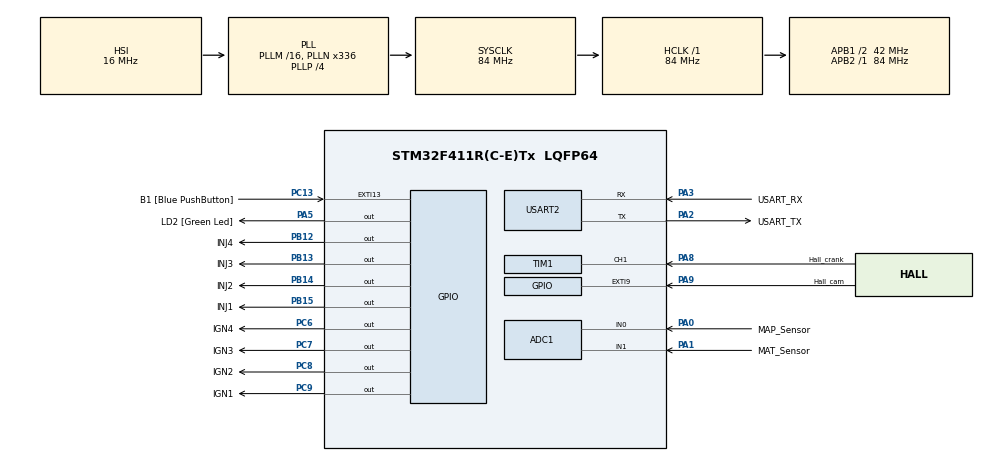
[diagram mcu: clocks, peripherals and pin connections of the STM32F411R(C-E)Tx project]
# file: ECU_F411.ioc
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ADC1.Channel-1\#ChannelRegularConversion=ADC_CHANNEL_1
ADC1.NbrOfConversionFlag=1
ADC1.Rank-1\#ChannelRegularConversion=1
ADC1.SamplingTime-1\#ChannelRegularConversion=ADC_SAMPLETIME_3CYCLES
ADC1.master=1
Mcu.Family=STM32F4
Mcu.Name=STM32F411R(C-E)Tx
Mcu.Package=LQFP64
NVIC.PriorityGroup=NVIC_PRIORITYGROUP_0
PA0-WKUP.GPIO_Label=MAP_Sensor
PA0-WKUP.Signal=ADCx_IN0
PA1.GPIO_Label=MAT_Sensor
PA1.Signal=ADCx_IN1
PA13.GPIO_Label=TMS
PA13.Mode=Serial_Wire
PA13.Signal=SYS_JTMS-SWDIO
PA14.GPIO_Label=TCK
PA14.Mode=Serial_Wire
PA14.Signal=SYS_JTCK-SWCLK
PA2.GPIO_Label=USART_TX
PA2.Mode=Asynchronous
PA2.Signal=USART2_TX
PA3.GPIO_Label=USART_RX
PA3.Mode=Asynchronous
PA3.Signal=USART2_RX
PA5.GPIO_Label=LD2 [Green Led]
PA5.Signal=GPIO_Output
PA8.GPIO_Label=Hall_crank
PA8.Signal=S_TIM1_CH1
PA9.GPIO_Label=Hall_cam
PA9.Signal=GPXTI9
PB12.GPIO_Label=INJ4
PB12.Signal=GPIO_Output
PB13.GPIO_Label=INJ3
PB13.Signal=GPIO_Output
PB14.GPIO_Label=INJ2
PB14.Signal=GPIO_Output
PB15.GPIO_Label=INJ1
PB15.Signal=GPIO_Output
PB3.GPIO_Label=SWO
PB3.Signal=SYS_JTDO-SWO
PC13-ANTI_TAMP.GPIO_Label=B1 [Blue PushButton]
PC13-ANTI_TAMP.GPIO_ModeDefaultEXTI=GPIO_MODE_IT_FALLING
PC13-ANTI_TAMP.Signal=GPXTI13
PC14-OSC32_IN.Mode=LSE-External-Oscillator
PC14-OSC32_IN.Signal=RCC_OSC32_IN
PC15-OSC32_OUT.Mode=LSE-External-Oscillator
PC15-OSC32_OUT.Signal=RCC_OSC32_OUT
PC6.GPIO_Label=IGN4
PC6.Signal=GPIO_Output
PC7.GPIO_Label=IGN3
PC7.Signal=GPIO_Output
PC8.GPIO_Label=IGN2
PC8.Signal=GPIO_Output
PC9.GPIO_Label=IGN1
PC9.Signal=GPIO_Output
PH0\ -\ OSC_IN.Mode=HSE-External-Clock-Source
PH0\ -\ OSC_IN.Signal=RCC_OSC_IN
PH1\ -\ OSC_OUT.Mode=HSE-External-Clock-Source
PH1\ -\ OSC_OUT.Signal=RCC_OSC_OUT
ProjectManager.HeapSize=0x200
ProjectManager.StackSize=0x400
ProjectManager.TargetToolchain=STM32CubeIDE
RCC.48MHZClocksFreq_Value=84000000
RCC.AHBFreq_Value=84000000
RCC.APB1CLKDivider=RCC_HCLK_DIV2
RCC.APB1Freq_Value=42000000
RCC.APB1TimFreq_Value=84000000
RCC.APB2Freq_Value=84000000
RCC.APB2TimFreq_Value=84000000
RCC.CortexFreq_Value=84000000
RCC.FLatency-AdvancedSettings=FLASH_LATENCY_2
RCC.HCLKFreq_Value=84000000
RCC.HSE_VALUE=8000000
RCC.HSI_VALUE=16000000
RCC.PLLN=336
RCC.PLLP=RCC_PLLP_DIV4
RCC.SYSCLKFreq_VALUE=84000000
RCC.SYSCLKSource=RCC_SYSCLKSOURCE_PLLCLK
RCC.VCOOutputFreq_Value=336000000
SH.ADCx_IN0.0=ADC1_IN0,IN0
SH.ADCx_IN1.0=ADC1_IN1,IN1
SH.S_TIM1_CH1.0=TIM1_CH1,Input_Capture1_from_TI1
TIM1.Channel-Input_Capture1_from_TI1=TIM_CHANNEL_1
TIM3.Period=840
USART2.VirtualMode=VM_ASYNC
VP_TIM1_VS_ClockSourceINT.Mode=Internal
VP_TIM3_VS_ClockSourceINT.Mode=Internal
board=NUCLEO-F411RE

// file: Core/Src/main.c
/* USER CODE BEGIN Header */
/**
  ******************************************************************************
  * @file           : main.c
  * @brief          : Main program body
  ******************************************************************************
  * @attention
  *
  * Copyright (c) 2022 STMicroelectronics.
  * All rights reserved.
  *
  * This software is licensed under terms that can be found in the LICENSE file
  * in the root directory of this software component.
  * If no LICENSE file comes with this software, it is provided AS-IS.
  *
  ******************************************************************************
  */
/* USER CODE END Header */
#include "main.h"

/* USER CODE BEGIN Includes */
#include "stdbool.h"
#include "engine_parameters.h"
#include "event.h"
#include "ignition.h"
#include "injection.h"
#include "adc.h"
/* USER CODE END Includes */

/* USER CODE BEGIN PTD */
//To discuss if they move to a .h
typedef enum{
	OFF = 0,
	IGNITION_ON = 1,
	CRANKING = 2,
	RUNNING = 3
}engineState_t;

typedef enum{
	SYNCHRO_INIT = 0,
	SYNCHRO_OK = 1,
	SYNCHRO_ERROR = 2
}synchroState_t;

typedef struct EngineStatus{
	engineState_t engineState;
	synchroState_t synchroState;
	bool missmatch_crank_tooth;
	bool missmatch_cam_angle;
}EngineStatus;

/* USER CODE END PTD */

ADC_HandleTypeDef hadc1;

TIM_HandleTypeDef htim1;
TIM_HandleTypeDef htim3;

UART_HandleTypeDef huart2;

/* USER CODE BEGIN PV */
float crank_speed = 0;
float crank_angle = 0;
float delta_integral_crank_angle = 0;
int crank_clock_ovf_counter = 0;
int count_crank_tooth = 0;
bool crank_half_cycle = 0;		// 0: crank_angle=[0,360] ; 1: crank_angle=[360,720]

EngineStatus engine_status = {OFF, SYNCHRO_INIT, false, false};
Cylinder L_Cylinder[NB_CYLINDER] = {0};
Sensor map_sensor = {0};
Sensor mat_sensor = {0};

float speed_rpm = 0;
/* USER CODE END PV */

void SystemClock_Config(void);
static void MX_GPIO_Init(void);
static void MX_USART2_UART_Init(void);
static void MX_TIM1_Init(void);
static void MX_TIM3_Init(void);
static void MX_ADC1_Init(void);

int main(void)
{

  /* MCU Configuration--------------------------------------------------------*/

  /* Reset of all peripherals, Initializes the Flash interface and the Systick. */
  HAL_Init();

  /* Configure the system clock */
  SystemClock_Config();

  /* Initialize all configured peripherals */
  MX_GPIO_Init();
  MX_USART2_UART_Init();
  MX_TIM1_Init();
  MX_TIM3_Init();
  MX_ADC1_Init();
  /* USER CODE BEGIN 2 */
  Cylinder_Init(L_Cylinder);
  Sensor_Init(&map_sensor, MAP_Sensor_GPIO_Port, MAP_Sensor_Pin, 1, 0);
  Sensor_Init(&mat_sensor, MAT_Sensor_GPIO_Port, MAT_Sensor_Pin, 1, 0);
  map_sensor.hadc_p = &hadc1;		// Affectation statique à ADC1
  mat_sensor.hadc_p = &hadc1;		// Affectation statique à ADC1
  /* USER CODE END 2 */

  /* Infinite loop */
  while (1)
  {

  }
}

void SystemClock_Config(void)
{
  RCC_OscInitTypeDef RCC_OscInitStruct = {0};
  RCC_ClkInitTypeDef RCC_ClkInitStruct = {0};

  /** Configure the main internal regulator output voltage
  */
  __HAL_RCC_PWR_CLK_ENABLE();
  __HAL_PWR_VOLTAGESCALING_CONFIG(PWR_REGULATOR_VOLTAGE_SCALE1);

  /** Initializes the RCC Oscillators according to the specified parameters
  * in the RCC_OscInitTypeDef structure.
  */
  RCC_OscInitStruct.OscillatorType = RCC_OSCILLATORTYPE_HSI;
  RCC_OscInitStruct.HSIState = RCC_HSI_ON;
  RCC_OscInitStruct.HSICalibrationValue = RCC_HSICALIBRATION_DEFAULT;
  RCC_OscInitStruct.PLL.PLLState = RCC_PLL_ON;
  RCC_OscInitStruct.PLL.PLLSource = RCC_PLLSOURCE_HSI;
  RCC_OscInitStruct.PLL.PLLM = 16;
  RCC_OscInitStruct.PLL.PLLN = 336;
  RCC_OscInitStruct.PLL.PLLP = RCC_PLLP_DIV4;
  RCC_OscInitStruct.PLL.PLLQ = 4;
  if (HAL_RCC_OscConfig(&RCC_OscInitStruct) != HAL_OK)
  {
    Error_Handler();
  }

  /** Initializes the CPU, AHB and APB buses clocks
  */
  RCC_ClkInitStruct.ClockType = RCC_CLOCKTYPE_HCLK|RCC_CLOCKTYPE_SYSCLK
                              |RCC_CLOCKTYPE_PCLK1|RCC_CLOCKTYPE_PCLK2;
  RCC_ClkInitStruct.SYSCLKSource = RCC_SYSCLKSOURCE_PLLCLK;
  RCC_ClkInitStruct.AHBCLKDivider = RCC_SYSCLK_DIV1;
  RCC_ClkInitStruct.APB1CLKDivider = RCC_HCLK_DIV2;
  RCC_ClkInitStruct.APB2CLKDivider = RCC_HCLK_DIV1;

  if (HAL_RCC_ClockConfig(&RCC_ClkInitStruct, FLASH_LATENCY_2) != HAL_OK)
  {
    Error_Handler();
  }
}

static void MX_ADC1_Init(void)
{

  ADC_ChannelConfTypeDef sConfig = {0};

  /** Configure the global features of the ADC (Clock, Resolution, Data Alignment and number of conversion)
  */
  hadc1.Instance = ADC1;
  hadc1.Init.ClockPrescaler = ADC_CLOCK_SYNC_PCLK_DIV4;
  hadc1.Init.Resolution = ADC_RESOLUTION_12B;
  hadc1.Init.ScanConvMode = DISABLE;
  hadc1.Init.ContinuousConvMode = DISABLE;
  hadc1.Init.DiscontinuousConvMode = DISABLE;
  hadc1.Init.ExternalTrigConvEdge = ADC_EXTERNALTRIGCONVEDGE_NONE;
  hadc1.Init.ExternalTrigConv = ADC_SOFTWARE_START;
  hadc1.Init.DataAlign = ADC_DATAALIGN_RIGHT;
  hadc1.Init.NbrOfConversion = 1;
  hadc1.Init.DMAContinuousRequests = DISABLE;
  hadc1.Init.EOCSelection = ADC_EOC_SINGLE_CONV;
  if (HAL_ADC_Init(&hadc1) != HAL_OK)
  {
    Error_Handler();
  }

  /** Configure for the selected ADC regular channel its corresponding rank in the sequencer and its sample time.
  */
  sConfig.Channel = ADC_CHANNEL_1;
  sConfig.Rank = 1;
  sConfig.SamplingTime = ADC_SAMPLETIME_3CYCLES;
  if (HAL_ADC_ConfigChannel(&hadc1, &sConfig) != HAL_OK)
  {
    Error_Handler();
  }

}

static void MX_TIM1_Init(void)
{

  TIM_ClockConfigTypeDef sClockSourceConfig = {0};
  TIM_MasterConfigTypeDef sMasterConfig = {0};
  TIM_IC_InitTypeDef sConfigIC = {0};

  htim1.Instance = TIM1;
  htim1.Init.Prescaler = 0;
  htim1.Init.CounterMode = TIM_COUNTERMODE_UP;
  htim1.Init.Period = 65535;
  htim1.Init.ClockDivision = TIM_CLOCKDIVISION_DIV1;
  htim1.Init.RepetitionCounter = 0;
  htim1.Init.AutoReloadPreload = TIM_AUTORELOAD_PRELOAD_DISABLE;
  if (HAL_TIM_Base_Init(&htim1) != HAL_OK)
  {
    Error_Handler();
  }
  sClockSourceConfig.ClockSource = TIM_CLOCKSOURCE_INTERNAL;
  if (HAL_TIM_ConfigClockSource(&htim1, &sClockSourceConfig) != HAL_OK)
  {
    Error_Handler();
  }
  if (HAL_TIM_IC_Init(&htim1) != HAL_OK)
  {
    Error_Handler();
  }
  sMasterConfig.MasterOutputTrigger = TIM_TRGO_RESET;
  sMasterConfig.MasterSlaveMode = TIM_MASTERSLAVEMODE_DISABLE;
  if (HAL_TIMEx_MasterConfigSynchronization(&htim1, &sMasterConfig) != HAL_OK)
  {
    Error_Handler();
  }
  sConfigIC.ICPolarity = TIM_INPUTCHANNELPOLARITY_RISING;
  sConfigIC.ICSelection = TIM_ICSELECTION_DIRECTTI;
  sConfigIC.ICPrescaler = TIM_ICPSC_DIV1;
  sConfigIC.ICFilter = 0;
  if (HAL_TIM_IC_ConfigChannel(&htim1, &sConfigIC, TIM_CHANNEL_1) != HAL_OK)
  {
    Error_Handler();
  }

}

static void MX_TIM3_Init(void)
{

  TIM_ClockConfigTypeDef sClockSourceConfig = {0};
  TIM_MasterConfigTypeDef sMasterConfig = {0};

  htim3.Instance = TIM3;
  htim3.Init.Prescaler = 0;
  htim3.Init.CounterMode = TIM_COUNTERMODE_UP;
  htim3.Init.Period = 840;
  htim3.Init.ClockDivision = TIM_CLOCKDIVISION_DIV1;
  htim3.Init.AutoReloadPreload = TIM_AUTORELOAD_PRELOAD_DISABLE;
  if (HAL_TIM_Base_Init(&htim3) != HAL_OK)
  {
    Error_Handler();
  }
  sClockSourceConfig.ClockSource = TIM_CLOCKSOURCE_INTERNAL;
  if (HAL_TIM_ConfigClockSource(&htim3, &sClockSourceConfig) != HAL_OK)
  {
    Error_Handler();
  }
  sMasterConfig.MasterOutputTrigger = TIM_TRGO_RESET;
  sMasterConfig.MasterSlaveMode = TIM_MASTERSLAVEMODE_DISABLE;
  if (HAL_TIMEx_MasterConfigSynchronization(&htim3, &sMasterConfig) != HAL_OK)
  {
    Error_Handler();
  }

}

static void MX_USART2_UART_Init(void)
{

  huart2.Instance = USART2;
  huart2.Init.BaudRate = 115200;
  huart2.Init.WordLength = UART_WORDLENGTH_8B;
  huart2.Init.StopBits = UART_STOPBITS_1;
  huart2.Init.Parity = UART_PARITY_NONE;
  huart2.Init.Mode = UART_MODE_TX_RX;
  huart2.Init.HwFlowCtl = UART_HWCONTROL_NONE;
  huart2.Init.OverSampling = UART_OVERSAMPLING_16;
  if (HAL_UART_Init(&huart2) != HAL_OK)
  {
    Error_Handler();
  }

}

static void MX_GPIO_Init(void)
{
  GPIO_InitTypeDef GPIO_InitStruct = {0};

  /* GPIO Ports Clock Enable */
  __HAL_RCC_GPIOC_CLK_ENABLE();
  __HAL_RCC_GPIOH_CLK_ENABLE();
  __HAL_RCC_GPIOA_CLK_ENABLE();
  __HAL_RCC_GPIOB_CLK_ENABLE();

  /*Configure GPIO pin Output Level */
  HAL_GPIO_WritePin(LD2_GPIO_Port, LD2_Pin, GPIO_PIN_RESET);

  /*Configure GPIO pin Output Level */
  HAL_GPIO_WritePin(GPIOB, INJ4_Pin|INJ3_Pin|INJ2_Pin|INJ1_Pin, GPIO_PIN_RESET);

  /*Configure GPIO pin Output Level */
  HAL_GPIO_WritePin(GPIOC, IGN4_Pin|IGN3_Pin|IGN2_Pin|IGN1_Pin, GPIO_PIN_RESET);

  /*Configure GPIO pin : B1_Pin */
  GPIO_InitStruct.Pin = B1_Pin;
  GPIO_InitStruct.Mode = GPIO_MODE_IT_FALLING;
  GPIO_InitStruct.Pull = GPIO_NOPULL;
  HAL_GPIO_Init(B1_GPIO_Port, &GPIO_InitStruct);

  /*Configure GPIO pin : LD2_Pin */
  GPIO_InitStruct.Pin = LD2_Pin;
  GPIO_InitStruct.Mode = GPIO_MODE_OUTPUT_PP;
  GPIO_InitStruct.Pull = GPIO_NOPULL;
  GPIO_InitStruct.Speed = GPIO_SPEED_FREQ_LOW;
  HAL_GPIO_Init(LD2_GPIO_Port, &GPIO_InitStruct);

  /*Configure GPIO pins : INJ4_Pin INJ3_Pin INJ2_Pin INJ1_Pin */
  GPIO_InitStruct.Pin = INJ4_Pin|INJ3_Pin|INJ2_Pin|INJ1_Pin;
  GPIO_InitStruct.Mode = GPIO_MODE_OUTPUT_PP;
  GPIO_InitStruct.Pull = GPIO_NOPULL;
  GPIO_InitStruct.Speed = GPIO_SPEED_FREQ_LOW;
  HAL_GPIO_Init(GPIOB, &GPIO_InitStruct);

  /*Configure GPIO pins : IGN4_Pin IGN3_Pin IGN2_Pin IGN1_Pin */
  GPIO_InitStruct.Pin = IGN4_Pin|IGN3_Pin|IGN2_Pin|IGN1_Pin;
  GPIO_InitStruct.Mode = GPIO_MODE_OUTPUT_PP;
  GPIO_InitStruct.Pull = GPIO_NOPULL;
  GPIO_InitStruct.Speed = GPIO_SPEED_FREQ_LOW;
  HAL_GPIO_Init(GPIOC, &GPIO_InitStruct);

  /*Configure GPIO pin : Hall_cam_Pin */
  GPIO_InitStruct.Pin = Hall_cam_Pin;
  GPIO_InitStruct.Mode = GPIO_MODE_IT_RISING;
  GPIO_InitStruct.Pull = GPIO_NOPULL;
  HAL_GPIO_Init(Hall_cam_GPIO_Port, &GPIO_InitStruct);

}

/* USER CODE BEGIN 4 */
void HAL_TIM_PeriodElapsedCallback(TIM_HandleTypeDef *htim)
{
	if(htim->Instance == TIM3)
	{
		crank_angle += delta_integral_crank_angle;
		if(engine_status.synchroState == SYNCHRO_OK && engine_status.engineState == RUNNING)
		{
			for(int i=0; i<NB_CYLINDER; i++)
			{
				if(L_Cylinder[i].spark_angle - L_Cylinder[i].charge_angle >= 0)
				{
					L_Cylinder[i].state_pin_ign	= (L_Cylinder[i].charge_angle <= crank_angle) && (crank_angle < L_Cylinder[i].spark_angle);
				}
				else
				{
					L_Cylinder[i].state_pin_ign	= (L_Cylinder[i].charge_angle <= crank_angle) || (crank_angle < L_Cylinder[i].spark_angle);
				}

				if(L_Cylinder[i].end_inj_angle - L_Cylinder[i].start_inj_angle >= 0)
				{
					L_Cylinder[i].state_pin_inj	= (L_Cylinder[i].start_inj_angle <= crank_angle) && (crank_angle < L_Cylinder[i].end_inj_angle);
				}
				else
				{
					L_Cylinder[i].state_pin_inj	= (L_Cylinder[i].start_inj_angle <= crank_angle) || (crank_angle < L_Cylinder[i].end_inj_angle);
				}

				HAL_GPIO_WritePin(L_Cylinder[i].IGN_GPIO_Port, L_Cylinder[i].IGN_Pin, L_Cylinder[i].state_pin_ign);
				HAL_GPIO_WritePin(L_Cylinder[i].INJ_GPIO_Port, L_Cylinder[i].INJ_Pin, L_Cylinder[i].state_pin_inj);
			}
		}
	}

	else if(htim->Instance == TIM1)
	{
		crank_clock_ovf_counter ++;
		if(crank_clock_ovf_counter >= 100)
		{
			delta_integral_crank_angle = 0;
			crank_speed = 0;
			engine_status.engineState = IGNITION_ON;
		}
	}

}

void HAL_TIM_IC_CaptureCallback(TIM_HandleTypeDef *htim)
{
	static bool capture_crank_selector = 0;
	static int capture_value1 = 0;
	static int capture_value2 = 0;
	static float crank_tooth_time = 0;
	static float last_crank_tooth_time = 0;

	if(htim->Instance == TIM1 && htim->Channel == HAL_TIM_ACTIVE_CHANNEL_1)
	{
		int crank_clock_ovf_counter_temp = crank_clock_ovf_counter;
		last_crank_tooth_time = crank_tooth_time;

		if(capture_crank_selector)
		{
			capture_value1 = HAL_TIM_ReadCapturedValue(htim, TIM_CHANNEL_1);
			crank_tooth_time = crank_clock_ovf_counter_temp*T_TIMER_CRANK + (capture_value1-capture_value2)*T_CLOCK_CRANK;
		}
		else
		{
			capture_value2 = HAL_TIM_ReadCapturedValue(htim, TIM_CHANNEL_1);
			crank_tooth_time = crank_clock_ovf_counter_temp*T_TIMER_CRANK + (capture_value2-capture_value1)*T_CLOCK_CRANK;
		}

		__HAL_TIM_SET_COUNTER(&htim3, 0);
		crank_clock_ovf_counter = 0;

		capture_crank_selector = !capture_crank_selector;
		count_crank_tooth ++;

		if(crank_tooth_time > 1.1*last_crank_tooth_time)		// If we detect a missing tooth event
		{
			engine_status.missmatch_crank_tooth = (count_crank_tooth != CRANK_TOOTH-CRANK_MISSING_TOOTH);

			count_crank_tooth = 0;

			crank_angle = ANGLE_OFFSET + crank_half_cycle*360;
			crank_half_cycle = !crank_half_cycle;

			crank_speed = CRANK_HALL_BTW_TOOTH_ANGLE/(6*crank_tooth_time);	//RPM
			delta_integral_crank_angle = T_ANGLE_UPDATE*CRANK_HALL_BTW_TOOTH_ANGLE/crank_tooth_time;
		}
		else
		{
			engine_status.missmatch_crank_tooth = (count_crank_tooth >= CRANK_TOOTH-CRANK_MISSING_TOOTH);

			crank_angle = CRANK_HALL_BTW_TOOTH_ANGLE*count_crank_tooth + (ANGLE_OFFSET + crank_half_cycle*360);
			crank_speed = CRANK_HALL_BTW_TOOTH_ANGLE/(6*crank_tooth_time);	//RPM
			delta_integral_crank_angle = T_ANGLE_UPDATE*CRANK_HALL_BTW_TOOTH_ANGLE/crank_tooth_time;
		}

		if(engine_status.missmatch_crank_tooth || engine_status.missmatch_cam_angle)
		{
			engine_status.synchroState = SYNCHRO_ERROR;
		}

		read_analog_sensor(&map_sensor);
		read_analog_sensor(&mat_sensor);
		generate_ignition_event(L_Cylinder, dwell_ms, speed_rpm, map_sensor.val, SPEED_IGN, SIZE_SPEED_IGN_TABLE, MAP_IGN, SIZE_MAP_IGN_TABLE, IGN_ADV);
		generate_injection_event(L_Cylinder, speed_rpm, map_sensor.val, SPEED_INJ, SIZE_SPEED_INJ_TABLE, MAP_INJ, SIZE_MAP_INJ_TABLE, FUEL_INJ, SPEED_INJ_TIMING, SIZE_SPEED_INJ_TIMING_TABLE, MAP_INJ_TIMING, SIZE_MAP_INJ_TIMING_TABLE, FUEL_INJ_TIMING);
	}
}

void HAL_GPIO_EXTI_Callback(uint16_t GPIO_Pin)
{
	//Cam sensor implementation
	if (GPIO_Pin == Hall_cam_Pin)
	{
		//Check synchro error if engine is rotating
		if ((crank_angle < SYNC_CRANK_ANGLE_RANGE_MIN || crank_angle > SYNC_CRANK_ANGLE_RANGE_MAX) && engine_status.engineState >= CRANKING)
		{
			switch(engine_status.synchroState)
			{
			case SYNCHRO_INIT:
				crank_half_cycle = !crank_half_cycle;
				break;
			case SYNCHRO_OK:
				engine_status.synchroState = SYNCHRO_ERROR;
				engine_status.missmatch_cam_angle = true;
				Error_Handler(); //Synch_Error_Handler() ?
				break;
			case SYNCHRO_ERROR:
				Error_Handler();
				break;
			}
		}
		//If engine is rotating, the Synchro is OK
		else if (engine_status.engineState >= CRANKING && engine_status.synchroState == SYNCHRO_INIT)
		{
			engine_status.synchroState = SYNCHRO_OK;
		}
	}
}

int __io_putchar(int ch)
{
	uint8_t c;
	c = ch & 0x00FF;
	HAL_UART_Transmit(&huart2, &c, 1, 10);
	return ch;
}
int _write(int file,char *ptr, int len)
{
	int DataIdx;
	for(DataIdx= 0; DataIdx< len; DataIdx++)
	{
		__io_putchar(*ptr++);
	}
	return len;
}
/* USER CODE END 4 */

void Error_Handler(void)
{
  __disable_irq();
  while (1)
  {
  }
}
